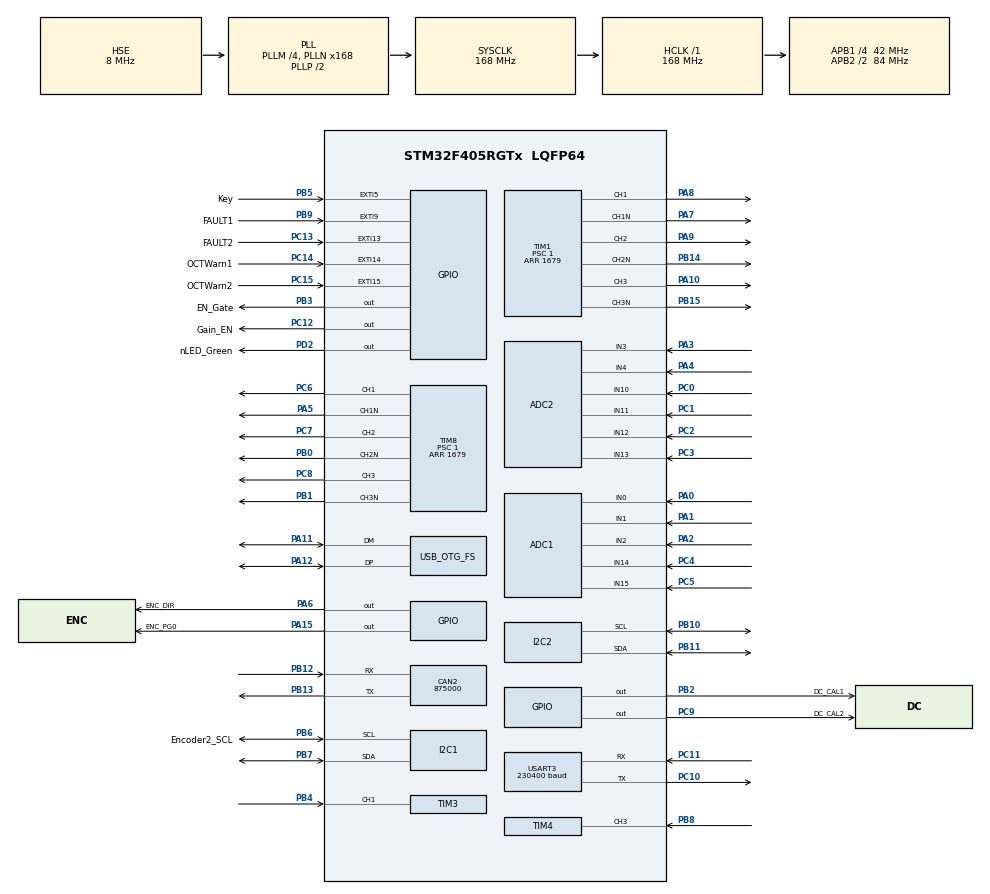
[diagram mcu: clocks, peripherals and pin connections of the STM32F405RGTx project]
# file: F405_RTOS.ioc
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ADC1.Channel-2\#ChannelRegularConversion=ADC_CHANNEL_14
ADC1.Channel-3\#ChannelRegularConversion=ADC_CHANNEL_15
ADC1.ClockPrescaler=ADC_CLOCK_SYNC_PCLK_DIV6
ADC1.ContinuousConvMode=DISABLE
ADC1.DMAContinuousRequests=ENABLE
ADC1.ExternalTrigConv=ADC_SOFTWARE_START
ADC1.NbrOfConversion=2
ADC1.NbrOfConversionFlag=1
ADC1.Rank-2\#ChannelRegularConversion=1
ADC1.Rank-3\#ChannelRegularConversion=2
ADC1.SamplingTime-2\#ChannelRegularConversion=ADC_SAMPLETIME_15CYCLES
ADC1.SamplingTime-3\#ChannelRegularConversion=ADC_SAMPLETIME_15CYCLES
ADC1.master=1
ADC2.Channel-1\#ChannelRegularConversion=ADC_CHANNEL_3
ADC2.Channel-2\#ChannelRegularConversion=ADC_CHANNEL_4
ADC2.ClockPrescaler=ADC_CLOCK_SYNC_PCLK_DIV6
ADC2.DMAContinuousRequests=ENABLE
ADC2.NbrOfConversion=2
ADC2.NbrOfConversionFlag=1
ADC2.Rank-1\#ChannelRegularConversion=1
ADC2.Rank-2\#ChannelRegularConversion=2
ADC2.SamplingTime-1\#ChannelRegularConversion=ADC_SAMPLETIME_15CYCLES
ADC2.SamplingTime-2\#ChannelRegularConversion=ADC_SAMPLETIME_15CYCLES
CAN2.BS1=CAN_BS1_1TQ
CAN2.BS2=CAN_BS2_1TQ
CAN2.CalculateBaudRate=875000
CAN2.CalculateTimeBit=1142
CAN2.CalculateTimeQuantum=380.95238095238096
Dma.ADC1.1.Direction=DMA_PERIPH_TO_MEMORY
Dma.ADC1.1.FIFOMode=DMA_FIFOMODE_DISABLE
Dma.ADC1.1.Instance=DMA2_Stream0
Dma.ADC1.1.MemDataAlignment=DMA_MDATAALIGN_HALFWORD
Dma.ADC1.1.MemInc=DMA_MINC_ENABLE
Dma.ADC1.1.Mode=DMA_CIRCULAR
Dma.ADC1.1.PeriphDataAlignment=DMA_PDATAALIGN_HALFWORD
Dma.ADC1.1.PeriphInc=DMA_PINC_DISABLE
Dma.ADC1.1.Priority=DMA_PRIORITY_LOW
Dma.ADC2.0.Direction=DMA_PERIPH_TO_MEMORY
Dma.ADC2.0.FIFOMode=DMA_FIFOMODE_DISABLE
Dma.ADC2.0.Instance=DMA2_Stream2
Dma.ADC2.0.MemDataAlignment=DMA_MDATAALIGN_HALFWORD
Dma.ADC2.0.MemInc=DMA_MINC_ENABLE
Dma.ADC2.0.Mode=DMA_CIRCULAR
Dma.ADC2.0.PeriphDataAlignment=DMA_PDATAALIGN_HALFWORD
Dma.ADC2.0.PeriphInc=DMA_PINC_DISABLE
Dma.ADC2.0.Priority=DMA_PRIORITY_LOW
Dma.Request0=ADC2
Dma.Request1=ADC1
FREERTOS.Tasks01=defaultTask,24,128,StartDefaultTask,Default,NULL,Dynamic,NULL,NULL;UART_COMM,8,128,StartTask02,Default,NULL,Dynamic,NULL,NULL;USER_APP,8,128,StartTask03,Default,NULL,Dynamic,NULL,NULL
FREERTOS.configENABLE_FPU=1
I2C1.DualAddressMode=I2C_DUALADDRESS_DISABLE
I2C1.I2C_Mode=I2C_Fast
I2C2.I2C_Mode=I2C_Fast
Mcu.Family=STM32F4
Mcu.Name=STM32F405RGTx
Mcu.Package=LQFP64
NVIC.ADC_IRQn=true\:5\:0\:true\:true\:true\:1\:true\:true\:true\:true
NVIC.DMA2_Stream0_IRQn=true\:5\:0\:false\:false\:true\:true\:false\:true\:true
NVIC.DMA2_Stream2_IRQn=true\:5\:0\:false\:true\:true\:14\:true\:false\:true\:true
NVIC.EXTI15_10_IRQn=true\:5\:0\:false\:true\:true\:10\:true\:true\:true\:true
NVIC.EXTI9_5_IRQn=true\:5\:0\:false\:true\:true\:2\:true\:true\:true\:true
NVIC.PriorityGroup=NVIC_PRIORITYGROUP_4
NVIC.TIM1_BRK_TIM9_IRQn=true\:5\:0\:false\:true\:true\:3\:true\:true\:true\:true
NVIC.TIM1_CC_IRQn=true\:5\:0\:false\:true\:true\:6\:true\:true\:true\:true
NVIC.TIM1_TRG_COM_TIM11_IRQn=true\:5\:0\:false\:true\:true\:5\:true\:true\:true\:true
NVIC.TIM1_UP_TIM10_IRQn=true\:5\:0\:false\:true\:true\:4\:true\:true\:true\:true
NVIC.TIM3_IRQn=true\:5\:0\:false\:true\:true\:7\:true\:true\:true\:true
NVIC.TIM6_DAC_IRQn=true\:5\:0\:false\:false\:true\:true\:true\:true\:true
NVIC.TIM8_BRK_TIM12_IRQn=true\:5\:0\:false\:true\:true\:11\:true\:true\:true\:true
NVIC.TIM8_CC_IRQn=true\:5\:0\:false\:true\:true\:13\:true\:true\:true\:true
NVIC.TIM8_TRG_COM_TIM14_IRQn=true\:15\:0\:false\:false\:true\:false\:false\:true\:true
NVIC.TIM8_UP_TIM13_IRQn=true\:5\:0\:false\:true\:true\:12\:true\:true\:true\:true
NVIC.TimeBase=TIM8_TRG_COM_TIM14_IRQn
NVIC.TimeBaseIP=TIM14
NVIC.USART3_IRQn=true\:5\:0\:false\:true\:true\:9\:true\:true\:true\:true
PA0-WKUP.Signal=ADCx_IN0
PA1.Signal=ADCx_IN1
PA10.Signal=S_TIM1_CH3
PA11.Mode=Device_Only
PA11.Signal=USB_OTG_FS_DM
PA12.Mode=Device_Only
PA12.Signal=USB_OTG_FS_DP
PA13.Mode=Serial_Wire
PA13.Signal=SYS_JTMS-SWDIO
PA14.Mode=Serial_Wire
PA14.Signal=SYS_JTCK-SWCLK
PA15.GPIO_Label=ENC_PG0
PA15.GPIO_PuPd=GPIO_PULLUP
PA15.PinState=GPIO_PIN_SET
PA15.Signal=GPIO_Output
PA2.Signal=ADCx_IN2
PA3.Signal=ADCx_IN3
PA4.Signal=ADCx_IN4
PA5.Mode=PWM Generation1 CH1 CH1N
PA5.Signal=TIM8_CH1N
PA6.GPIO_Label=ENC_DIR
PA6.Signal=GPIO_Output
PA7.Mode=PWM Generation1 CH1 CH1N
PA7.Signal=TIM1_CH1N
PA8.Signal=S_TIM1_CH1
PA9.Signal=S_TIM1_CH2
PB0.Mode=PWM Generation2 CH2 CH2N
PB0.Signal=TIM8_CH2N
PB1.Mode=PWM Generation3 CH3 CH3N
PB1.Signal=TIM8_CH3N
PB10.Mode=I2C
PB10.Signal=I2C2_SCL
PB11.Mode=I2C
PB11.Signal=I2C2_SDA
PB12.Mode=CAN_Activate
PB12.Signal=CAN2_RX
PB13.Mode=CAN_Activate
PB13.Signal=CAN2_TX
PB14.Mode=PWM Generation2 CH2 CH2N
PB14.Signal=TIM1_CH2N
PB15.Mode=PWM Generation3 CH3 CH3N
PB15.Signal=TIM1_CH3N
PB2.GPIO_Label=DC_CAL1
PB2.Signal=GPIO_Output
PB3.GPIO_Label=EN_Gate
PB3.Signal=GPIO_Output
PB4.Signal=S_TIM3_CH1
PB5.GPIO_Label=Key
PB5.Signal=GPXTI5
PB6.GPIO_Label=Encoder2_SCL
PB6.Mode=I2C
PB6.Signal=I2C1_SCL
PB7.Mode=I2C
PB7.Signal=I2C1_SDA
PB8.Signal=S_TIM4_CH3
PB9.GPIO_Label=FAULT1
PB9.GPIO_PuPd=GPIO_NOPULL
PB9.Signal=GPXTI9
PC0.Signal=ADCx_IN10
PC1.Signal=ADCx_IN11
PC10.Mode=Asynchronous
PC10.Signal=USART3_TX
PC11.Mode=Asynchronous
PC11.Signal=USART3_RX
PC12.GPIO_Label=Gain_EN
PC12.Signal=GPIO_Output
PC13-ANTI_TAMP.GPIO_Label=FAULT2
PC13-ANTI_TAMP.GPIO_PuPd=GPIO_NOPULL
PC13-ANTI_TAMP.Signal=GPXTI13
PC14-OSC32_IN.GPIO_Label=OCTWarn1
PC14-OSC32_IN.GPIO_PuPd=GPIO_NOPULL
PC14-OSC32_IN.Signal=GPXTI14
PC15-OSC32_OUT.GPIO_Label=OCTWarn2
PC15-OSC32_OUT.GPIO_PuPd=GPIO_NOPULL
PC15-OSC32_OUT.Signal=GPXTI15
PC2.Signal=ADCx_IN12
PC3.Signal=ADCx_IN13
PC4.Signal=ADCx_IN14
PC5.Signal=ADCx_IN15
PC6.Signal=S_TIM8_CH1
PC7.Signal=S_TIM8_CH2
PC8.Signal=S_TIM8_CH3
PC9.GPIO_Label=DC_CAL2
PC9.Signal=GPIO_Output
PD2.GPIO_Label=nLED_Green
PD2.GPIO_Speed=GPIO_SPEED_FREQ_VERY_HIGH
PD2.Signal=GPIO_Output
PH0-OSC_IN.Mode=HSE-External-Oscillator
PH0-OSC_IN.Signal=RCC_OSC_IN
PH1-OSC_OUT.Mode=HSE-External-Oscillator
PH1-OSC_OUT.Signal=RCC_OSC_OUT
ProjectManager.HeapSize=0x400
ProjectManager.StackSize=0x400
ProjectManager.TargetToolchain=MDK-ARM V5
RCC.48MHZClocksFreq_Value=48000000
RCC.AHBFreq_Value=168000000
RCC.APB1CLKDivider=RCC_HCLK_DIV4
RCC.APB1Freq_Value=42000000
RCC.APB1TimFreq_Value=84000000
RCC.APB2CLKDivider=RCC_HCLK_DIV2
RCC.APB2Freq_Value=84000000
RCC.APB2TimFreq_Value=168000000
RCC.CortexFreq_Value=168000000
RCC.HCLKFreq_Value=168000000
RCC.HSE_VALUE=8000000
RCC.HSI_VALUE=16000000
RCC.LSE_VALUE=32768
RCC.PLLM=4
RCC.PLLN=168
RCC.PLLQ=7
RCC.SYSCLKFreq_VALUE=168000000
RCC.SYSCLKSource=RCC_SYSCLKSOURCE_PLLCLK
RCC.VCOOutputFreq_Value=336000000
SH.ADCx_IN0.0=ADC1_IN0,IN0
SH.ADCx_IN1.0=ADC1_IN1,IN1
SH.ADCx_IN10.0=ADC2_IN10,IN10
SH.ADCx_IN11.0=ADC2_IN11,IN11
SH.ADCx_IN12.0=ADC2_IN12,IN12
SH.ADCx_IN13.0=ADC2_IN13,IN13
SH.ADCx_IN14.0=ADC1_IN14,IN14
SH.ADCx_IN15.0=ADC1_IN15,IN15
SH.ADCx_IN2.0=ADC1_IN2,IN2
SH.ADCx_IN3.0=ADC2_IN3,IN3
SH.ADCx_IN4.0=ADC2_IN4,IN4
SH.S_TIM1_CH1.0=TIM1_CH1,PWM Generation1 CH1 CH1N
SH.S_TIM1_CH2.0=TIM1_CH2,PWM Generation2 CH2 CH2N
SH.S_TIM1_CH3.0=TIM1_CH3,PWM Generation3 CH3 CH3N
SH.S_TIM3_CH1.0=TIM3_CH1,Input_Capture1_from_TI1
SH.S_TIM4_CH3.0=TIM4_CH3,Input_Capture3_from_TI3
SH.S_TIM8_CH1.0=TIM8_CH1,PWM Generation1 CH1 CH1N
SH.S_TIM8_CH2.0=TIM8_CH2,PWM Generation2 CH2 CH2N
SH.S_TIM8_CH3.0=TIM8_CH3,PWM Generation3 CH3 CH3N
TIM1.Channel-PWM\ Generation1\ CH1\ CH1N=TIM_CHANNEL_1
TIM1.Channel-PWM\ Generation2\ CH2\ CH2N=TIM_CHANNEL_2
TIM1.Channel-PWM\ Generation3\ CH3\ CH3N=TIM_CHANNEL_3
TIM1.CounterMode=TIM_COUNTERMODE_CENTERALIGNED2
TIM1.Period=1679
TIM1.Prescaler=1
TIM1.TIM_MasterOutputTrigger=TIM_TRGO_UPDATE
TIM1.TIM_MasterSlaveMode=TIM_MASTERSLAVEMODE_DISABLE
TIM3.Channel-Input_Capture1_from_TI1=TIM_CHANNEL_1
TIM3.Channel-Input_Capture2_from_TI1_63=TIM_CHANNEL_2
TIM3.ICFilter_CH1=4
TIM3.ICPolarity_CH1=TIM_INPUTCHANNELPOLARITY_RISING
TIM3.ICPolarity_CH2=TIM_INPUTCHANNELPOLARITY_FALLING
TIM3.Prescaler=3
TIM4.Channel-Input_Capture3_from_TI3=TIM_CHANNEL_3
TIM4.Channel-Input_Capture4_from_TI3_63=TIM_CHANNEL_4
TIM4.ICFilter_CH3=4
TIM4.ICPolarity_CH4=TIM_INPUTCHANNELPOLARITY_FALLING
TIM4.Prescaler=3
TIM6.Period=16799
TIM6.Prescaler=9
TIM6.TIM_MasterOutputTrigger=TIM_TRGO_UPDATE
TIM8.Channel-PWM\ Generation1\ CH1\ CH1N=TIM_CHANNEL_1
TIM8.Channel-PWM\ Generation2\ CH2\ CH2N=TIM_CHANNEL_2
TIM8.Channel-PWM\ Generation3\ CH3\ CH3N=TIM_CHANNEL_3
TIM8.CounterMode=TIM_COUNTERMODE_CENTERALIGNED2
TIM8.Period=1679
TIM8.Prescaler=1
TIM8.TIM_MasterOutputTrigger=TIM_TRGO_UPDATE
USART3.BaudRate=230400
USART3.VirtualMode=VM_ASYNC
USB_OTG_FS.VirtualMode=Device_Only
VP_ADC1_TempSens_Input.Mode=IN-TempSens
VP_FREERTOS_VS_CMSIS_V2.Mode=CMSIS_V2
VP_SYS_VS_tim14.Mode=TIM14
VP_TIM3_VS_indirect_ch1.Mode=Input_Capture2_from_TI1_63
VP_TIM4_VS_indirect_ch3.Mode=Input_Capture4_from_TI3_63
VP_TIM6_VS_ClockSourceINT.Mode=Enable_Timer
board=custom

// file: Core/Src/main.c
/* USER CODE BEGIN Header */
/**
  ******************************************************************************
  * @file           : main.c
  * @brief          : Main program body
  ******************************************************************************
  * @attention
  *
  * Copyright (c) 2022 STMicroelectronics.
  * All rights reserved.
  *
  * This software is licensed under terms that can be found in the LICENSE file
  * in the root directory of this software component.
  * If no LICENSE file comes with this software, it is provided AS-IS.
  *
  ******************************************************************************
  */
/* USER CODE END Header */
#include "main.h"
#include "cmsis_os.h"
#include "adc.h"
#include "can.h"
#include "dma.h"
#include "i2c.h"
#include "tim.h"
#include "usart.h"
#include "usb_otg.h"
#include "gpio.h"

/* USER CODE BEGIN Includes */
#include "stdio.h"
#include "control.h"
#include "bsp_as5600.h"
/* USER CODE END Includes */

void SystemClock_Config(void);
void MX_FREERTOS_Init(void);
static void MX_NVIC_Init(void);

/* USER CODE BEGIN 0 */
Motor M1,M2;

int fputc(int ch, FILE *f){
	HAL_UART_Transmit(&huart3,(uint8_t*)&ch,1,0xffff);
	//HAL_UART_Transmit_DMA(&huart1,(uint8_t*)&ch,1);
	return ch;
}
int fgetc(FILE *f){
	uint8_t ch=0;
	HAL_UART_Receive(&huart3,&ch,1,0xffff);
	//HAL_UART_Receive_DMA(&huart1,&ch,1);
	return ch;
}
/* USER CODE END 0 */

int main(void)
{

  /* MCU Configuration--------------------------------------------------------*/

  /* Reset of all peripherals, Initializes the Flash interface and the Systick. */
  HAL_Init();

  /* Configure the system clock */
  SystemClock_Config();

  /* Initialize all configured peripherals */
  MX_GPIO_Init();
  MX_DMA_Init();
  MX_ADC1_Init();
  MX_ADC2_Init();
  MX_CAN2_Init();
  MX_I2C1_Init();
  MX_I2C2_Init();
  MX_TIM1_Init();
  MX_TIM3_Init();
  MX_TIM8_Init();
  MX_USB_OTG_FS_PCD_Init();
  MX_USART3_UART_Init();
  MX_TIM6_Init();
  MX_TIM4_Init();

  /* Initialize interrupts */
  MX_NVIC_Init();
  /* USER CODE BEGIN 2 */
	//MotorInit(&M1, hadc1, htim8, htim3, hi2c2, Speed);
	//MotorInit(&M2, hadc2, htim1, htim4, hi2c1, Speed);
	MotorInit(&M1, hadc1, htim8, htim3, hi2c2, Torque);
	MotorInit(&M2, hadc2, htim1, htim4, hi2c1, Torque);
	//HAL_GPIO_WritePin(ENC_DIR_GPIO_Port, ENC_DIR_Pin, GPIO_PIN_SET);

	//Motor Parameter initialization
	SetMotorParam(&M1,24,3,14,1.8,400);
	SetMotorParam(&M2,24,3,14,1.8,400);
	//PID initialization
	SetCurrentPID(&M1,0.003,0.0000003,0);
	SetCurrentPID(&M2,0.003,0.0000003,0);
	SetSpeedPID(&M1,40,0.1,10,300);
	SetSpeedPID(&M2,40,0.1,10,300);
	SetAnglePID(&M1,0.4,0,0);
	SetAnglePID(&M2,0.4,0,0);

	SetAngleTarget(&M1,2048);
	SetAngleTarget(&M2,2048);

	//start encoder1 timer
	//HAL_TIM_IC_Start_IT(&htim3,TIM_CHANNEL_1);
	//HAL_TIM_IC_Start_IT(&htim3,TIM_CHANNEL_2);
	//start encoder2 timer
	//HAL_TIM_IC_Start_IT(&htim4,TIM_CHANNEL_3);
	//HAL_TIM_IC_Start_IT(&htim4,TIM_CHANNEL_4);
	//start speed estimator
	HAL_TIM_Base_Start_IT(&htim6);
	//enable Gain
	GainSelection(DRV_GAIN_40);
	EnableGate();
	DC_Calibration(&M1);
	DC_Calibration(&M2);
	/*M1.Voltage.d = 0;
	M1.Voltage.q = 10;
	for(int i=0;i<4096;i++){
		M1.E_angle = i;
		InvPark(&M1.Voltage,M1.E_angle);
		GetSVPWM(&M1);
	}*/
	MotorCalibration(&M1);
	MotorCalibration(&M2);
	HAL_TIM_Base_Start_IT(&htim8);
	//HAL_TIM_Base_Start_IT(&htim1);
  /* USER CODE END 2 */

  /* Init scheduler */
  osKernelInitialize();  /* Call init function for freertos objects (in freertos.c) */
  MX_FREERTOS_Init();

  /* Start scheduler */
  osKernelStart();

  /* We should never get here as control is now taken by the scheduler */
  /* Infinite loop */
  while (1)
  {

  }
}

void SystemClock_Config(void)
{
  RCC_OscInitTypeDef RCC_OscInitStruct = {0};
  RCC_ClkInitTypeDef RCC_ClkInitStruct = {0};

  /** Configure the main internal regulator output voltage
  */
  __HAL_RCC_PWR_CLK_ENABLE();
  __HAL_PWR_VOLTAGESCALING_CONFIG(PWR_REGULATOR_VOLTAGE_SCALE1);

  /** Initializes the RCC Oscillators according to the specified parameters
  * in the RCC_OscInitTypeDef structure.
  */
  RCC_OscInitStruct.OscillatorType = RCC_OSCILLATORTYPE_HSE;
  RCC_OscInitStruct.HSEState = RCC_HSE_ON;
  RCC_OscInitStruct.PLL.PLLState = RCC_PLL_ON;
  RCC_OscInitStruct.PLL.PLLSource = RCC_PLLSOURCE_HSE;
  RCC_OscInitStruct.PLL.PLLM = 4;
  RCC_OscInitStruct.PLL.PLLN = 168;
  RCC_OscInitStruct.PLL.PLLP = RCC_PLLP_DIV2;
  RCC_OscInitStruct.PLL.PLLQ = 7;
  if (HAL_RCC_OscConfig(&RCC_OscInitStruct) != HAL_OK)
  {
    Error_Handler();
  }

  /** Initializes the CPU, AHB and APB buses clocks
  */
  RCC_ClkInitStruct.ClockType = RCC_CLOCKTYPE_HCLK|RCC_CLOCKTYPE_SYSCLK
                              |RCC_CLOCKTYPE_PCLK1|RCC_CLOCKTYPE_PCLK2;
  RCC_ClkInitStruct.SYSCLKSource = RCC_SYSCLKSOURCE_PLLCLK;
  RCC_ClkInitStruct.AHBCLKDivider = RCC_SYSCLK_DIV1;
  RCC_ClkInitStruct.APB1CLKDivider = RCC_HCLK_DIV4;
  RCC_ClkInitStruct.APB2CLKDivider = RCC_HCLK_DIV2;

  if (HAL_RCC_ClockConfig(&RCC_ClkInitStruct, FLASH_LATENCY_5) != HAL_OK)
  {
    Error_Handler();
  }
}

/**
  * @brief NVIC Configuration.
  * @retval None
  */
static void MX_NVIC_Init(void)
{
  /* ADC_IRQn interrupt configuration */
  HAL_NVIC_SetPriority(ADC_IRQn, 5, 0);
  HAL_NVIC_EnableIRQ(ADC_IRQn);
  /* EXTI9_5_IRQn interrupt configuration */
  HAL_NVIC_SetPriority(EXTI9_5_IRQn, 5, 0);
  HAL_NVIC_EnableIRQ(EXTI9_5_IRQn);
  /* TIM1_BRK_TIM9_IRQn interrupt configuration */
  HAL_NVIC_SetPriority(TIM1_BRK_TIM9_IRQn, 5, 0);
  HAL_NVIC_EnableIRQ(TIM1_BRK_TIM9_IRQn);
  /* TIM1_UP_TIM10_IRQn interrupt configuration */
  HAL_NVIC_SetPriority(TIM1_UP_TIM10_IRQn, 5, 0);
  HAL_NVIC_EnableIRQ(TIM1_UP_TIM10_IRQn);
  /* TIM1_TRG_COM_TIM11_IRQn interrupt configuration */
  HAL_NVIC_SetPriority(TIM1_TRG_COM_TIM11_IRQn, 5, 0);
  HAL_NVIC_EnableIRQ(TIM1_TRG_COM_TIM11_IRQn);
  /* TIM1_CC_IRQn interrupt configuration */
  HAL_NVIC_SetPriority(TIM1_CC_IRQn, 5, 0);
  HAL_NVIC_EnableIRQ(TIM1_CC_IRQn);
  /* TIM3_IRQn interrupt configuration */
  HAL_NVIC_SetPriority(TIM3_IRQn, 5, 0);
  HAL_NVIC_EnableIRQ(TIM3_IRQn);
  /* USART3_IRQn interrupt configuration */
  HAL_NVIC_SetPriority(USART3_IRQn, 5, 0);
  HAL_NVIC_EnableIRQ(USART3_IRQn);
  /* EXTI15_10_IRQn interrupt configuration */
  HAL_NVIC_SetPriority(EXTI15_10_IRQn, 5, 0);
  HAL_NVIC_EnableIRQ(EXTI15_10_IRQn);
  /* TIM8_BRK_TIM12_IRQn interrupt configuration */
  HAL_NVIC_SetPriority(TIM8_BRK_TIM12_IRQn, 5, 0);
  HAL_NVIC_EnableIRQ(TIM8_BRK_TIM12_IRQn);
  /* TIM8_UP_TIM13_IRQn interrupt configuration */
  HAL_NVIC_SetPriority(TIM8_UP_TIM13_IRQn, 5, 0);
  HAL_NVIC_EnableIRQ(TIM8_UP_TIM13_IRQn);
  /* TIM8_CC_IRQn interrupt configuration */
  HAL_NVIC_SetPriority(TIM8_CC_IRQn, 5, 0);
  HAL_NVIC_EnableIRQ(TIM8_CC_IRQn);
  /* DMA2_Stream2_IRQn interrupt configuration */
  HAL_NVIC_SetPriority(DMA2_Stream2_IRQn, 5, 0);
  HAL_NVIC_EnableIRQ(DMA2_Stream2_IRQn);
}

void HAL_TIM_PeriodElapsedCallback(TIM_HandleTypeDef *htim)
{
  if (htim->Instance == TIM14) {
    HAL_IncTick();
  }
}

void Error_Handler(void)
{
  __disable_irq();
  while (1)
  {
  }
}

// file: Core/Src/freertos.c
/* USER CODE BEGIN Header */
/**
  ******************************************************************************
  * File Name          : freertos.c
  * Description        : Code for freertos applications
  ******************************************************************************
  * @attention
  *
  * Copyright (c) 2022 STMicroelectronics.
  * All rights reserved.
  *
  * This software is licensed under terms that can be found in the LICENSE file
  * in the root directory of this software component.
  * If no LICENSE file comes with this software, it is provided AS-IS.
  *
  ******************************************************************************
  */
/* USER CODE END Header */

#include "FreeRTOS.h"
#include "task.h"
#include "main.h"
#include "cmsis_os.h"

/* USER CODE BEGIN Includes */
#include "control.h"

/* USER CODE END Includes */

/* USER CODE BEGIN Variables */
extern Motor M1;
extern Motor M2;

float k=1;
float kq=0.01;
float Kspeed = 0.5;
float kpre = 0.5;

int stages1 = 5;
int stages2 = 5;
/* USER CODE END Variables */
/* Definitions for defaultTask */
osThreadId_t defaultTaskHandle;
const osThreadAttr_t defaultTask_attributes = {
  .name = "defaultTask",
  .stack_size = 128 * 4,
  .priority = (osPriority_t) osPriorityNormal,
};
/* Definitions for UART_COMM */
osThreadId_t UART_COMMHandle;
const osThreadAttr_t UART_COMM_attributes = {
  .name = "UART_COMM",
  .stack_size = 128 * 4,
  .priority = (osPriority_t) osPriorityLow,
};
/* Definitions for USER_APP */
osThreadId_t USER_APPHandle;
const osThreadAttr_t USER_APP_attributes = {
  .name = "USER_APP",
  .stack_size = 128 * 4,
  .priority = (osPriority_t) osPriorityLow,
};

void StartDefaultTask(void *argument);
void StartTask02(void *argument);
void StartTask03(void *argument);

void MX_FREERTOS_Init(void); /* (MISRA C 2004 rule 8.1) */

void MX_FREERTOS_Init(void) {

  /* Create the thread(s) */
  /* creation of defaultTask */
  defaultTaskHandle = osThreadNew(StartDefaultTask, NULL, &defaultTask_attributes);

  /* creation of UART_COMM */
  UART_COMMHandle = osThreadNew(StartTask02, NULL, &UART_COMM_attributes);

  /* creation of USER_APP */
  USER_APPHandle = osThreadNew(StartTask03, NULL, &USER_APP_attributes);

}

void StartDefaultTask(void *argument)
{
  /* USER CODE BEGIN StartDefaultTask */
  /* Infinite loop */
  for(;;)
  {
		//printf("%f,%f\n",M1.duty, M2.duty);
		//printf("%.2f,%.2f\n",M1.speed,M1.speedPID.target);
		//printf("%.2f,%.2f,%.2f,%.2f\n",M1.speed,M1.speedPID.target,M2.speed,M2.speedPID.target);
		//printf("%d,%f\n",M1.M_angle, M1.anglePID.target);
		//printf("%d,%f,%d,%f\n",M1.M_angle, M1.anglePID.target,M2.M_angle, M2.anglePID.target);
		//printf("%d,%d\n",M1.M_angle, M2.M_angle);
		//printf("%d,%d\n",M2.M_angle, M2.E_angle);
		//printf("%d,%f\n",M1.M_angle, M1.speed);
		printf("%.2f,%.2f,%.2f,%.2f,%d\n",M1.Current.d,M1.idPID.target,M1.Current.q, M1.iqPID.target,M1.M_angle/10);
		//printf("%d,%d,%d\n",M1.Current.a,M1.Current.b,M1.Current.c);
		//printf("%d,%d,%d\n",M2.Current.a,M2.Current.b,M2.Current.c);
		//printf("%.2f,%d,%d\n",M1.speed,M1.M_angle, M1.E_angle);
    osDelay(1);
  }
  /* USER CODE END StartDefaultTask */
}

void StartTask02(void *argument)
{
  /* USER CODE BEGIN StartTask02 */
  /* Infinite loop */
  for(;;)
  {
    if(M1.APP == Drag){
			ModeSelection(&M1,Idle);
			ModeSelection(&M2,Position);
			SetAngleTarget(&M2,M1.M_angle);
			printf("%d,%d\n",M1.M_angle, M2.M_angle);
			//SetAngleTarget(&M1,1*(M2.M_angle - M1.M_angle));
			//SetAngleTarget(&M2,1*(M1.M_angle - M2.M_angle));
		}
		if(M1.APP == ForceFeedback){
			//method 1
			/*
			ModeSelection(&M1,Position);
			ModeSelection(&M2,Position);

			SetAngleTarget(&M1,M2.M_angle);
			SetAngleTarget(&M2,M1.M_angle);
			*/
			//method 2
			/*int angle_diff = M2.M_angle - M1.M_angle;
			if(angle_diff > 4000){
				angle_diff -= UnitPulse;
			}
			if(angle_diff < -4000){
				angle_diff += UnitPulse;
			}

			ModeSelection(&M1,Position);
			ModeSelection(&M2,Position);
			SetIncrementAngle(&M1,k*angle_diff);
			SetIncrementAngle(&M2,M1.M_angle);
			printf("%.2f,%.2f,%.2f,%.2f\n",M1.idPID.target,M1.iqPID.target,M2.idPID.target,M2.iqPID.target);*/
			//printf("%d,%d,%d,%d,%d,%d\n",M1.Current.a,M1.Current.b,M1.Current.c,M2.Current.a,M2.Current.b,M2.Current.c);
			//int a = (M2.M_angle - M1.M_angle);
			//int v = (M2.M_angle - M1.M_angle);
			//method 3
			//ture open loop force feedback
			ModeSelection(&M1,Torque);
			ModeSelection(&M2,Position);
			int angle_diff = M2.M_angle - M1.M_angle;
			if(angle_diff > 2048){
				angle_diff -= UnitPulse;
			}
			if(angle_diff < -2048){
				angle_diff += UnitPulse;
			}

			M1.Voltage.q = kq*angle_diff;
			SetAngleTarget(&M2,M1.M_angle);
			printf("%.2f,%.2f,%.2f,%.2f,%.2f,%.2f\n",M1.Current.d,M1.Current.q,M2.Current.d,M2.Current.q, (float)M1.M_angle/10+500, (float)M2.M_angle/10+500);
			//method 4
			/*ModeSelection(&M1,Torque);
			ModeSelection(&M2,Position);
			M1.iqPID =
			SetIncrementAngle(&M2,M1.M_angle);*/
		}
		if(M1.APP == Switch){

			ModeSelection(&M1,Position);

			int gap1 = 4096/stages1;
			int target1 = M1.M_angle/gap1;
			target1 = target1*gap1;
			if( M1.M_angle%gap1 >gap1/2){
				target1 += gap1;
			}

			SetAngleTarget(&M1,target1);
		}
		if(M2.APP == Switch){

			ModeSelection(&M2,Position);

			int gap2 = 4096/stages2;
			int target2 = M2.M_angle/gap2;
			target2 = target2*gap2;
			if( M2.M_angle%gap2 >gap2/2){
				target2 += gap2;
			}

			SetAngleTarget(&M2,target2);
		}

		osDelay(1);
  }
  /* USER CODE END StartTask02 */
}

void StartTask03(void *argument)
{
  for(;;)
  {
    osDelay(1);
  }
}
